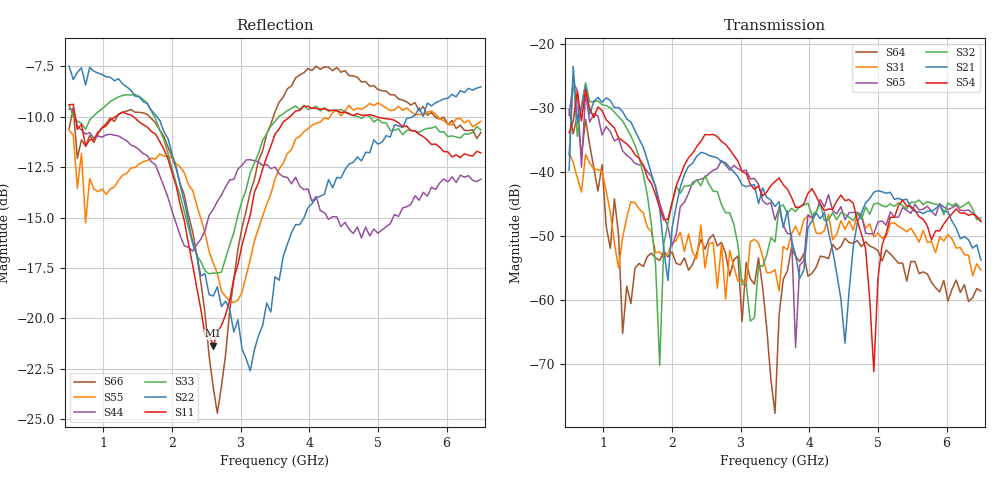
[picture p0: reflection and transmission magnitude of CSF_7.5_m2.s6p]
!Keysight Technologies,M9804A,MY58100912,A.14.10.03
!Date: Thursday, April 27, 2023 10:28:33
!Correction: S11(C  6-Port  )
!S12(C  6-Port  )
!S13(C  6-Port  )
!S14(C  6-Port  )
!S15(C  6-Port  )
!S16(C  6-Port  )
!S21(C  6-Port  )
!S22(C  6-Port  )
!S23(C  6-Port  )
!S24(C  6-Port  )
!S25(C  6-Port  )
!S26(C  6-Port  )
!S31(C  6-Port  )
!S32(C  6-Port  )
!S33(C  6-Port  )
!S34(C  6-Port  )
!S35(C  6-Port  )
!S36(C  6-Port  )
!S41(C  6-Port  )
!S42(C  6-Port  )
!S43(C  6-Port  )
!S44(C  6-Port  )
!S45(C  6-Port  )
!S46(C  6-Port  )
!S51(C  6-Port  )
!S52(C  6-Port  )
!S53(C  6-Port  )
!S54(C  6-Port  )
!S55(C  6-Port  )
!S56(C  6-Port  )
!S61(C  6-Port  )
!S62(C  6-Port  )
!S63(C  6-Port  )
!S64(C  6-Port  )
!S65(C  6-Port  )
!S66(C  6-Port  )
!S6P File: Measurement: :
# Hz S  RI  R 50
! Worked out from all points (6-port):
!   101 points, 500 MHz to 6.5 GHz, reference 50 ohm
!   strongest paths, dB at 500 MHz, 2 GHz, 3.5 GHz, 5 GHz, 6.5 GHz:
!     S54: -33.9, -44.7, -41.5, -56.6, -47.7
!     S21: -39.7, -48.8, -45.4, -42.9, -53.7
!     S32: -37.3, -45.0, -50.9, -44.8, -47.1
!     S65: -31.1, -51.6, -47.5, -47.8, -47.7
!     S31: -37.0, -51.1, -55.2, -49.5, -55.3
!     S64: -30.2, -52.5, -77.7, -52.2, -58.6
!   lowest |S11| = -21.4 dB at 2.6 GHz (marker M1), VSWR 1.19, Z = 42.4 + j2.22 ohm
!   |S11| at or under -10 dB: 589.6 MHz to 1.172 GHz (582.8 MHz wide, 66.1 % of centre); 1.436 GHz to 3.715 GHz (2.279 GHz wide, 88.5 % of centre); 4.979 GHz to end of sweep
